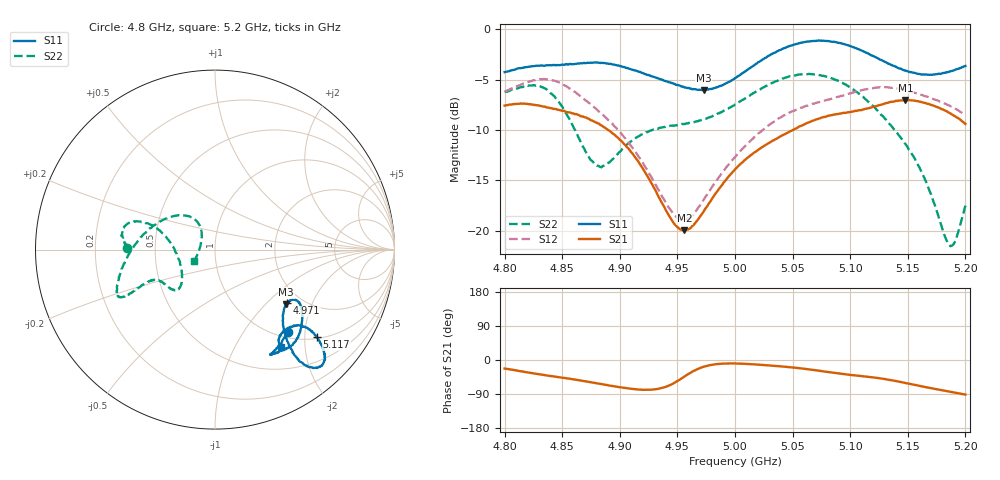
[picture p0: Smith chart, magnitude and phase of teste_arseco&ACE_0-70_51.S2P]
! Network Analyzer HP8722D
! Hewlett-Packard
! Data name: Linha & Wilkinson
! Saver's name: Rodrigo Anjos
! Comments: Teste da utilização de aquisição
! continua pelo VNA HP8722D
! Time and date: 8/5/2025 13:11
!  Frequency  S11  S21  S12  S22
# HZ  S  MA R 50
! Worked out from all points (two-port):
!   401 points, 4.8 GHz to 5.2 GHz, reference 50 ohm
!   highest |S21| = -7.02 dB at 5.148 GHz (marker M1); lowest = -20.0 dB at 4.956 GHz (marker M2)
!   |S21| within 3 dB of the highest: start of sweep to 4.89 GHz; 5.05 GHz to end of sweep
!   lowest |S11| = -6.0 dB at 4.973 GHz (marker M3), VSWR 2.99, Z = 82.2 - j66.5 ohm
!   |S11| at or under -10 dB: nowhere
!   |S22| runs from -21.5 to -4.4 dB; largest |S21 - S12| = 0.95
!   S11 on the Smith chart (normalised r, x): 4.8 GHz: 1.11, -1.63; 4.971 GHz: 1.67, -1.33; 5.117 GHz: 1.03, -2.30; 5.2 GHz: 0.82, -1.57
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4.8e9  0.6122 -48.3  0.4179 -22.5  0.491 -176.6  0.4879 179.0
4.821e9  0.652 -58.9  0.4244 -33.2  0.5471 175.7  0.5254 170.5
4.836e9  0.6617 -62.0  0.4103 -40.5  0.5642 167.1  0.505 163.2
4.85e9  0.6681 -60.3  0.3934 -46.6  0.5349 158.1  0.4132 159.1
4.867e9  0.6768 -55.1  0.3693 -54.6  0.4593 149.8  0.2691 167.7
4.885e9  0.6801 -48.9  0.3308 -64.0  0.3784 143.6  0.2092 -159.0
4.909e9  0.6343 -40.4  0.2493 -75.7  0.2676 137.2  0.2762 -133.7
4.934e9  0.5685 -33.1  0.1463 -75.9  0.1584 141.5  0.3235 -136.2
4.956e9  0.5145 -32.7  0.1005 -43.5  0.1131 174.3  0.3385 -145.1
4.971e9  0.4999 -36.7  0.1206 -19.9  0.1379 -161.8  0.3544 -150.9
4.973e9  0.4993 -37.5  0.1254 -17.8  0.1431 -159.5  0.3577 -151.2
5e9  0.5712 -48.2  0.2015 -9.2  0.2324 -147.4  0.4231 -154.3
5.038e9  0.7845 -52.8  0.2902 -16.5  0.3617 -148.6  0.5595 -152.4
5.067e9  0.8727 -48.7  0.3509 -25.9  0.4263 -155.3  0.5983 -155.9
5.096e9  0.8392 -43.5  0.3842 -37.8  0.4733 -163.7  0.533 -168.2
5.117e9  0.7495 -40.7  0.4073 -44.8  0.5074 -173.5  0.43 173.0
5.134e9  0.6718 -40.4  0.4344 -52.4  0.5144 176.4  0.3391 151.7
5.148e9  0.6241 -42.8  0.4455 -60.7  0.4978 168.2  0.2692 134.4
5.165e9  0.5952 -48.4  0.4306 -71.3  0.4653 160.4  0.1803 122.2
5.186e9  0.6159 -54.7  0.3849 -83.4  0.4184 153.2  0.08527 158.2
5.191e9  0.6282 -55.5  0.3703 -86.2  0.404 151.6  0.08851 -178.2
5.2e9  0.6569 -55.7  0.3392 -91.2  0.3746 148.5  0.1333 -150.5
